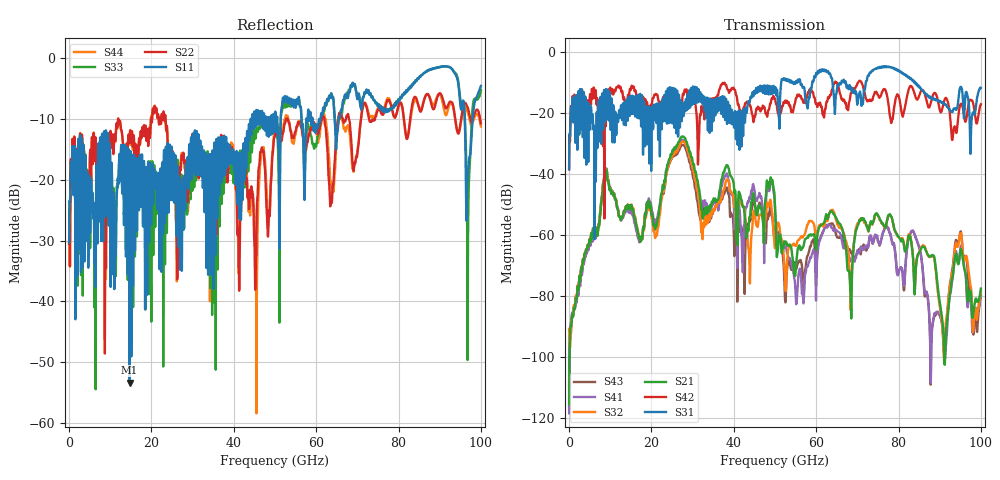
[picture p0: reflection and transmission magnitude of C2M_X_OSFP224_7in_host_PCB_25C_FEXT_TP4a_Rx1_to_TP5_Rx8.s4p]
# GHz S RI R 45
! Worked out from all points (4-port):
!   4000 points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, 25 MHz to 100 GHz, reference 45 ohm
!   strongest paths, dB at 25 MHz, 25.02 GHz, 50.02 GHz, 75.03 GHz, 100 GHz:
!     S31: -38.3, -14.7, -11.4, -4.9, -11.6
!     S42: -38.3, -15.4, -15.2, -14.0, -17.0
!     S21: -115.5, -32.8, -50.7, -53.5, -77.4
!     S32: -90.6, -34.2, -64.1, -53.7, -78.4
!     S41: -118.3, -33.0, -51.4, -61.8, -79.1
!     S43: -109.2, -34.4, -63.2, -62.0, -79.6
!   lowest |S11| = -53.3 dB at 14.7 GHz (marker M1), VSWR 1.00, Z = 45.2 + j0.0644 ohm
!   |S11| at or under -10 dB: start of sweep to 44.11 GHz; 59.15 GHz to 61.04 GHz (1.886 GHz wide, 3.14 % of centre); 96.08 GHz to 98 GHz (1.927 GHz wide, 1.99 % of centre)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
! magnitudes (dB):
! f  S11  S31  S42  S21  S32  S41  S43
! 25 MHz  -30.3  -38.3  -38.3  -115.5  -90.6  -118.3  -109.2
! 14.7 GHz  -53.3  -20.9  -12.5  -50.1  -50.1  -51.1  -51.0
! 27.65 GHz  -19.9  -17.5  -13.5  -27.6  -29.3  -28.7  -30.4
! 42.08 GHz  -18.2  -19.0  -19.5  -49.8  -50.2  -68.7  -58.2
! 49.23 GHz  -9.6  -11.5  -15.1  -42.1  -51.6  -43.0  -53.6
! 55.12 GHz  -7.7  -9.4  -15.0  -69.4  -63.4  -82.2  -71.0
! 100 GHz  -4.6  -11.6  -17.0  -77.4  -78.4  -79.1  -79.6
